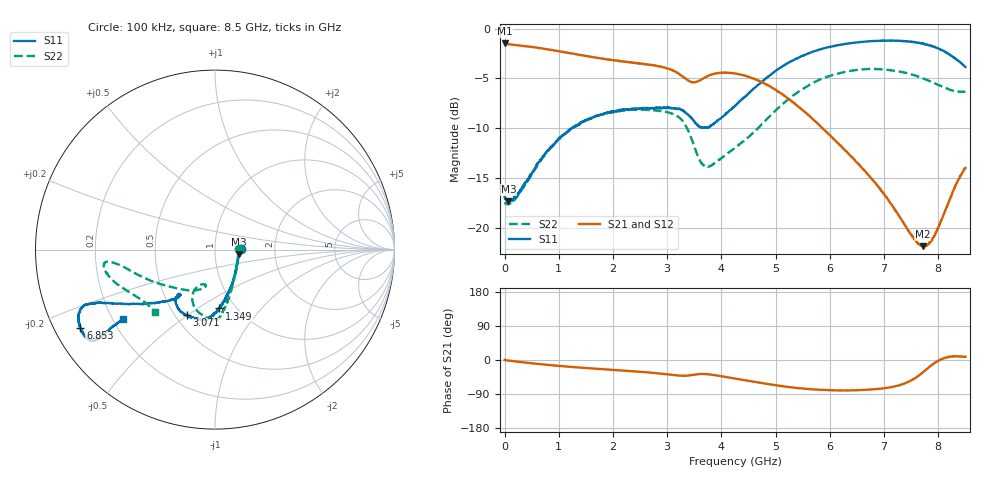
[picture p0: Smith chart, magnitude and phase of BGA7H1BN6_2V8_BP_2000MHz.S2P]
!Agilent Technologies,E5071C,MY46105553,A.09.30
!Date: Wed Sep 23 13:42:16 2015
!Data & Calibration Information:
!Freq	S11:SOLT2(ON)	S21:SOLT2(ON)	S12:SOLT2(ON)	S22:SOLT2(ON)
# Hz S dB R 50
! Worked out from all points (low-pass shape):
!   1601 points, 100 kHz to 8.5 GHz, reference 50 ohm
!   highest |S21| = -1.46 dB at 5.412 MHz (marker M1); lowest = -21.9 dB at 7.714 GHz (marker M2)
!   |S21| within 3 dB of the highest: start of sweep to 3.195 GHz; 3.946 GHz to 4.18 GHz (234.1 MHz wide, 5.76 % of centre)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
!   lowest |S11| = -17.4 dB at 69.16 MHz (marker M3), VSWR 1.31, Z = 65.2 - j3.36 ohm
!   |S11| at or under -10 dB: start of sweep to 1.249 GHz
!   |S22| runs from -17.7 to -4.1 dB; largest |S21 - S12| = 0.0062
!   S11 on the Smith chart (normalised r, x): 100 kHz: 1.33, +0.01; 1.349 GHz: 0.84, -0.62; 3.071 GHz: 0.57, -0.50; 6.853 GHz: 0.08, -0.27; 8.5 GHz: 0.24, -0.32
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100000  -16.92 0.8  -1.47 0.2  -1.51 0.0  -17.62 0.5
5412438  -17.07 -1.2  -1.46 -0.3  -1.52 -0.1  -17.55 -0.9
6.916169e7  -17.38 -10.8  -1.56 -1.6  -1.57 -1.6  -17.65 -10.5
2.763468e8  -16.41 -37.3  -1.70 -5.2  -1.71 -5.1  -16.52 -36.0
8.129029e8  -12.14 -71.2  -2.10 -13.1  -2.09 -13.0  -12.23 -68.5
1.349459e9  -9.67 -85.9  -2.60 -19.6  -2.60 -19.5  -9.70 -80.4
1.418521e9  -9.42 -87.4  -2.67 -20.3  -2.67 -20.3  -9.46 -81.5
2.0932e9  -8.26 -96.4  -3.22 -26.8  -3.24 -26.9  -8.30 -87.0
2.836942e9  -7.98 -106.7  -3.77 -35.5  -3.78 -35.5  -8.25 -93.4
3.070689e9  -8.01 -113.2  -4.13 -39.0  -4.14 -39.1  -8.50 -99.3
3.40006e9  -8.74 -126.8  -5.25 -40.8  -5.25 -40.8  -10.40 -114.9
3.686932e9  -9.99 -128.2  -4.94 -37.0  -4.94 -37.0  -13.79 -109.3
3.925991e9  -9.23 -128.1  -4.48 -41.1  -4.47 -41.1  -13.31 -104.8
4.25005e9  -7.76 -134.8  -4.52 -48.8  -4.50 -48.8  -12.00 -115.8
4.892855e9  -4.70 -148.8  -5.80 -64.2  -5.80 -64.2  -8.80 -148.4
5.668471e9  -2.37 -156.6  -9.02 -77.3  -9.01 -77.3  -5.52 -170.3
6.247526e9  -1.57 -155.1  -12.06 -80.4  -12.04 -80.4  -4.38 -173.6
6.853144e9  -1.23 -149.7  -15.63 -76.7  -15.62 -76.5  -4.06 -170.4
7.086892e9  -1.20 -147.6  -17.30 -72.7  -17.34 -72.4  -4.16 -168.0
7.713759e9  -1.48 -143.0  -21.88 -32.4  -21.91 -32.8  -4.98 -158.3
7.915632e9  -1.82 -142.6  -20.93 -9.5  -20.96 -9.6  -5.45 -153.7
8.5e9  -3.85 -143.0  -14.00 8.7  -13.97 8.1  -6.33 -133.7
